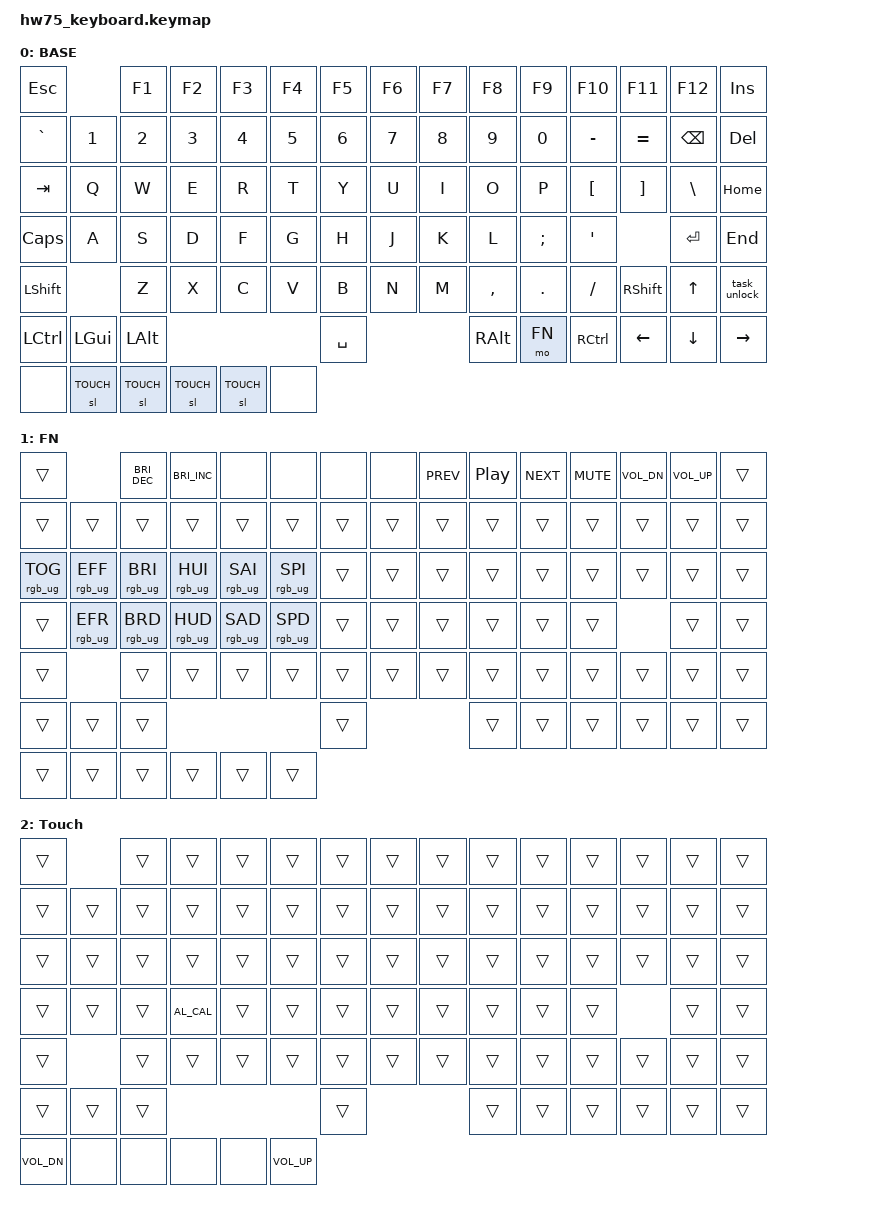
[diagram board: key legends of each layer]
/*
 * Copyright (c) 2022 The ZMK Contributors
 * SPDX-License-Identifier: MIT
 */

#include <behaviors.dtsi>
#include <dt-bindings/zmk/keys.h>
#include <dt-bindings/zmk/rgb.h>

#define BASE 0
#define FN 1
#define TOUCH 2

&sl {
  release-after-ms = <500>;
};

/ {
	macros {
		task_unlock: task_unlock {
			label = "unlock tap";
			compatible = "zmk,behavior-macro";
			#binding-cells = <0>;
			bindings = <&macro_tap &kp L &kp W &kp F>,
				   <&macro_press   &kp LSHFT>,
				   <&macro_tap     &kp N1>,
				   <&macro_release &kp LSHFT>,
				   <&macro_tap     &kp N1 &kp N1 &kp N1 &kp N1 &kp N1 &kp N1 &kp N1 &kp N1 &kp RET>;
		};
		lock_tap: lock_tap {
			label = "lock";
			compatible = "zmk,behavior-macro";
			#binding-cells = <0>;
			bindings = <
					&macro_press   &kp LGUI
				   	&macro_tap     &kp L
				   	&macro_release &kp LGUI
					>;
		};
    };

	keymap {
		compatible = "zmk,keymap";

		base {
			display-name = "BASE";
			bindings = <
				&kp ESC             &kp F1    &kp F2  &kp F3  &kp F4  &kp F5    &kp F6  &kp F7  &kp F8    &kp F9    &kp F10   &kp F11   &kp F12   &kp INSERT
				&kp GRAVE &kp N1    &kp N2    &kp N3  &kp N4  &kp N5  &kp N6    &kp N7  &kp N8  &kp N9    &kp N0    &kp MINUS &kp EQUAL &kp BSPC  &kp DELETE
				&kp TAB   &kp Q     &kp W     &kp E   &kp R   &kp T   &kp Y     &kp U   &kp I   &kp O     &kp P     &kp LBKT  &kp RBKT  &kp BSLH  &kp HOME
				&kp CLCK  &kp A     &kp S     &kp D   &kp F   &kp G   &kp H     &kp J   &kp K   &kp L     &kp SEMI  &kp SQT             &kp RET   &kp END
				&kp LSHFT           &kp Z     &kp X   &kp C   &kp V   &kp B     &kp N   &kp M   &kp COMMA &kp DOT   &kp FSLH  &kp RSHFT &kp UP    &task_unlock
				&kp LCTRL &kp LGUI  &kp LALT                          &kp SPACE                 &kp RALT  &mo FN    &kp RCTRL &kp LEFT  &kp DOWN  &kp RIGHT
				&none &sl TOUCH &sl TOUCH &sl TOUCH &sl TOUCH &none
			>;
		};

		fn {
			display-name = "FN";
			bindings = <
				&trans                          &kp C_BRI_DEC   &kp C_BRI_INC   &none           &none           &none   &none   &kp C_PREV  &kp C_PP  &kp C_NEXT  &kp C_MUTE  &kp C_VOL_DN  &kp C_VOL_UP  &trans
				&trans          &trans          &trans          &trans          &trans          &trans          &trans  &trans  &trans      &trans    &trans      &trans      &trans        &trans        &trans
				&rgb_ug RGB_TOG &rgb_ug RGB_EFF &rgb_ug RGB_BRI &rgb_ug RGB_HUI &rgb_ug RGB_SAI &rgb_ug RGB_SPI &trans  &trans  &trans      &trans    &trans      &trans      &trans        &trans        &trans
				&trans          &rgb_ug RGB_EFR &rgb_ug RGB_BRD &rgb_ug RGB_HUD &rgb_ug RGB_SAD &rgb_ug RGB_SPD &trans  &trans  &trans      &trans    &trans      &trans                    &trans        &trans
				&trans                          &trans          &trans          &trans          &trans          &trans  &trans  &trans      &trans    &trans      &trans      &trans        &trans        &trans
				&trans          &trans          &trans                                                          &trans                      &trans    &trans      &trans      &trans        &trans        &trans
				&trans  &trans  &trans  &trans  &trans  &trans
			>;
		};

		touch {
			display-name = "Touch";
			bindings = <
				&trans          &trans  &trans  &trans  &trans  &trans  &trans  &trans  &trans  &trans  &trans  &trans  &trans  &trans
				&trans  &trans  &trans  &trans  &trans  &trans  &trans  &trans  &trans  &trans  &trans  &trans  &trans  &trans  &trans
				&trans  &trans  &trans  &trans  &trans  &trans  &trans  &trans  &trans  &trans  &trans  &trans  &trans  &trans  &trans
				&trans  &trans  &trans  &kp C_AL_CAL  &trans  &trans  &trans  &trans  &trans  &trans  &trans  &trans          &trans  &trans
				&trans          &trans  &trans  &trans  &trans  &trans  &trans  &trans  &trans  &trans  &trans  &trans  &trans  &trans
				&trans  &trans  &trans                          &trans                  &trans  &trans  &trans  &trans  &trans  &trans
				&kp C_VOL_DN &none &none &none &none &kp C_VOL_UP
			>;
		};
	};
};
